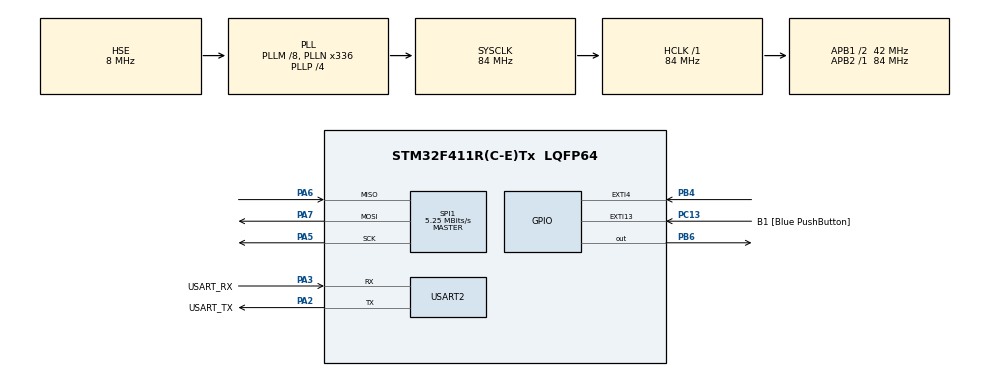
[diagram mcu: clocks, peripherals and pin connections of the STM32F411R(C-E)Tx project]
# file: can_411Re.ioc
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Mcu.Family=STM32F4
Mcu.Name=STM32F411R(C-E)Tx
Mcu.Package=LQFP64
NVIC.PriorityGroup=NVIC_PRIORITYGROUP_0
PA13.GPIO_Label=TMS
PA13.Mode=Serial_Wire
PA13.Signal=SYS_JTMS-SWDIO
PA14.GPIO_Label=TCK
PA14.Mode=Serial_Wire
PA14.Signal=SYS_JTCK-SWCLK
PA2.GPIO_Label=USART_TX
PA2.Mode=Asynchronous
PA2.Signal=USART2_TX
PA3.GPIO_Label=USART_RX
PA3.Mode=Asynchronous
PA3.Signal=USART2_RX
PA5.Mode=Full_Duplex_Master
PA5.Signal=SPI1_SCK
PA6.Mode=Full_Duplex_Master
PA6.Signal=SPI1_MISO
PA7.Mode=Full_Duplex_Master
PA7.Signal=SPI1_MOSI
PB3.GPIO_Label=SWO
PB3.Signal=SYS_JTDO-SWO
PB4.Signal=GPXTI4
PB6.Signal=GPIO_Output
PC13-ANTI_TAMP.GPIO_Label=B1 [Blue PushButton]
PC13-ANTI_TAMP.GPIO_ModeDefaultEXTI=GPIO_MODE_IT_FALLING
PC13-ANTI_TAMP.Signal=GPXTI13
PC14-OSC32_IN.Mode=LSE-External-Oscillator
PC14-OSC32_IN.Signal=RCC_OSC32_IN
PC15-OSC32_OUT.Mode=LSE-External-Oscillator
PC15-OSC32_OUT.Signal=RCC_OSC32_OUT
PH0\ -\ OSC_IN.Mode=HSE-External-Clock-Source
PH0\ -\ OSC_IN.Signal=RCC_OSC_IN
PH1\ -\ OSC_OUT.Mode=HSE-External-Clock-Source
PH1\ -\ OSC_OUT.Signal=RCC_OSC_OUT
ProjectManager.HeapSize=0x200
ProjectManager.StackSize=0x400
ProjectManager.TargetToolchain=STM32CubeIDE
RCC.48MHZClocksFreq_Value=84000000
RCC.AHBFreq_Value=84000000
RCC.APB1CLKDivider=RCC_HCLK_DIV2
RCC.APB1Freq_Value=42000000
RCC.APB1TimFreq_Value=84000000
RCC.APB2Freq_Value=84000000
RCC.APB2TimFreq_Value=84000000
RCC.CortexFreq_Value=84000000
RCC.FLatency-AdvancedSettings=FLASH_LATENCY_2
RCC.HCLKFreq_Value=84000000
RCC.HSE_VALUE=8000000
RCC.HSI_VALUE=16000000
RCC.PLLM=8
RCC.PLLN=336
RCC.PLLP=RCC_PLLP_DIV4
RCC.PLLSourceVirtual=RCC_PLLSOURCE_HSE
RCC.SYSCLKFreq_VALUE=84000000
RCC.SYSCLKSource=RCC_SYSCLKSOURCE_PLLCLK
RCC.VCOOutputFreq_Value=336000000
SPI1.BaudRatePrescaler=SPI_BAUDRATEPRESCALER_16
SPI1.CalculateBaudRate=5.25 MBits/s
SPI1.Direction=SPI_DIRECTION_2LINES
SPI1.Mode=SPI_MODE_MASTER
SPI1.VirtualType=VM_MASTER
USART2.VirtualMode=VM_ASYNC
board=NUCLEO-F411RE

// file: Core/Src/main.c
/* USER CODE BEGIN Header */
/**
  ******************************************************************************
  * @file           : main.c
  * @brief          : Main program body
  ******************************************************************************
  * @attention
  *
  * Copyright (c) 2025 STMicroelectronics.
  * All rights reserved.
  *
  * This software is licensed under terms that can be found in the LICENSE file
  * in the root directory of this software component.
  * If no LICENSE file comes with this software, it is provided AS-IS.
  *
  ******************************************************************************
  */
/* USER CODE END Header */
#include "main.h"

/* USER CODE BEGIN Includes */
#include <string.h>
#include <stdio.h>
#include "mcp2515.h"
/* USER CODE END Includes */

/* USER CODE BEGIN PTD */
SPI_HandleTypeDef hspi1;
UART_HandleTypeDef huart2;

#define MCP_CS_GPIO_Port GPIOB
#define MCP_CS_Pin       GPIO_PIN_6
#define MCP_INT_GPIO_Port GPIOB
#define MCP_INT_Pin       GPIO_PIN_4
/* USER CODE END PTD */

SPI_HandleTypeDef hspi1;

UART_HandleTypeDef huart2;

void SystemClock_Config(void);
static void MX_GPIO_Init(void);
static void MX_USART2_UART_Init(void);
static void MX_SPI1_Init(void);
/* USER CODE BEGIN PFP */
static mcp2515_t mcp;

static void MX_GPIO_Init(void);
static void MX_SPI1_Init(void);
static void MX_USART2_UART_Init(void);

static void log(const char *s){ HAL_UART_Transmit(&huart2,(uint8_t*)s,strlen(s),100); }
/* USER CODE END PFP */

int main(void)
{

  /* MCU Configuration--------------------------------------------------------*/

  /* Reset of all peripherals, Initializes the Flash interface and the Systick. */
  HAL_Init();

  /* Configure the system clock */
  SystemClock_Config();

  /* Initialize all configured peripherals */
  MX_GPIO_Init();
  MX_USART2_UART_Init();
  MX_SPI1_Init();
  /* USER CODE BEGIN 2 */

  MCP2515_Begin(&mcp, &hspi1, MCP_CS_GPIO_Port, MCP_CS_Pin);
  MCP2515_Reset(&mcp);
  MCP2515_SetConfig_500k_16MHz(&mcp);
  MCP2515_SetNormalMode(&mcp);

  can_frame_t tx = { .id=0x123, .dlc=8, .data={ 'H','E','L','L','O','_','4','1' } };
  /* USER CODE END 2 */

  /* Infinite loop */
  /* USER CODE BEGIN WHILE */
  while (1)
  {
	  MCP2515_SendTXB0(&mcp, &tx);
      log("[F411 TX] id=0x123 data=HELLO_41\r\n");
	  HAL_Delay(1000);
    /* USER CODE END WHILE */

  }
}

void SystemClock_Config(void)
{
  RCC_OscInitTypeDef RCC_OscInitStruct = {0};
  RCC_ClkInitTypeDef RCC_ClkInitStruct = {0};

  /** Configure the main internal regulator output voltage
  */
  __HAL_RCC_PWR_CLK_ENABLE();
  __HAL_PWR_VOLTAGESCALING_CONFIG(PWR_REGULATOR_VOLTAGE_SCALE1);

  /** Initializes the RCC Oscillators according to the specified parameters
  * in the RCC_OscInitTypeDef structure.
  */
  RCC_OscInitStruct.OscillatorType = RCC_OSCILLATORTYPE_HSE;
  RCC_OscInitStruct.HSEState = RCC_HSE_BYPASS;
  RCC_OscInitStruct.PLL.PLLState = RCC_PLL_ON;
  RCC_OscInitStruct.PLL.PLLSource = RCC_PLLSOURCE_HSE;
  RCC_OscInitStruct.PLL.PLLM = 8;
  RCC_OscInitStruct.PLL.PLLN = 336;
  RCC_OscInitStruct.PLL.PLLP = RCC_PLLP_DIV4;
  RCC_OscInitStruct.PLL.PLLQ = 4;
  if (HAL_RCC_OscConfig(&RCC_OscInitStruct) != HAL_OK)
  {
    Error_Handler();
  }

  /** Initializes the CPU, AHB and APB buses clocks
  */
  RCC_ClkInitStruct.ClockType = RCC_CLOCKTYPE_HCLK|RCC_CLOCKTYPE_SYSCLK
                              |RCC_CLOCKTYPE_PCLK1|RCC_CLOCKTYPE_PCLK2;
  RCC_ClkInitStruct.SYSCLKSource = RCC_SYSCLKSOURCE_PLLCLK;
  RCC_ClkInitStruct.AHBCLKDivider = RCC_SYSCLK_DIV1;
  RCC_ClkInitStruct.APB1CLKDivider = RCC_HCLK_DIV2;
  RCC_ClkInitStruct.APB2CLKDivider = RCC_HCLK_DIV1;

  if (HAL_RCC_ClockConfig(&RCC_ClkInitStruct, FLASH_LATENCY_2) != HAL_OK)
  {
    Error_Handler();
  }
}

static void MX_SPI1_Init(void)
{

  /* SPI1 parameter configuration*/
  hspi1.Instance = SPI1;
  hspi1.Init.Mode = SPI_MODE_MASTER;
  hspi1.Init.Direction = SPI_DIRECTION_2LINES;
  hspi1.Init.DataSize = SPI_DATASIZE_8BIT;
  hspi1.Init.CLKPolarity = SPI_POLARITY_LOW;
  hspi1.Init.CLKPhase = SPI_PHASE_1EDGE;
  hspi1.Init.NSS = SPI_NSS_SOFT;
  hspi1.Init.BaudRatePrescaler = SPI_BAUDRATEPRESCALER_16;
  hspi1.Init.FirstBit = SPI_FIRSTBIT_MSB;
  hspi1.Init.TIMode = SPI_TIMODE_DISABLE;
  hspi1.Init.CRCCalculation = SPI_CRCCALCULATION_DISABLE;
  hspi1.Init.CRCPolynomial = 10;
  if (HAL_SPI_Init(&hspi1) != HAL_OK)
  {
    Error_Handler();
  }

}

static void MX_USART2_UART_Init(void)
{

  huart2.Instance = USART2;
  huart2.Init.BaudRate = 115200;
  huart2.Init.WordLength = UART_WORDLENGTH_8B;
  huart2.Init.StopBits = UART_STOPBITS_1;
  huart2.Init.Parity = UART_PARITY_NONE;
  huart2.Init.Mode = UART_MODE_TX_RX;
  huart2.Init.HwFlowCtl = UART_HWCONTROL_NONE;
  huart2.Init.OverSampling = UART_OVERSAMPLING_16;
  if (HAL_UART_Init(&huart2) != HAL_OK)
  {
    Error_Handler();
  }

}

static void MX_GPIO_Init(void)
{
  GPIO_InitTypeDef GPIO_InitStruct = {0};

  /* GPIO Ports Clock Enable */
  __HAL_RCC_GPIOC_CLK_ENABLE();
  __HAL_RCC_GPIOH_CLK_ENABLE();
  __HAL_RCC_GPIOA_CLK_ENABLE();
  __HAL_RCC_GPIOB_CLK_ENABLE();

  /*Configure GPIO pin Output Level */
  HAL_GPIO_WritePin(GPIOB, GPIO_PIN_6, GPIO_PIN_RESET);

  /*Configure GPIO pin : B1_Pin */
  GPIO_InitStruct.Pin = B1_Pin;
  GPIO_InitStruct.Mode = GPIO_MODE_IT_FALLING;
  GPIO_InitStruct.Pull = GPIO_NOPULL;
  HAL_GPIO_Init(B1_GPIO_Port, &GPIO_InitStruct);

  /*Configure GPIO pin : PB4 */
  GPIO_InitStruct.Pin = GPIO_PIN_4;
  GPIO_InitStruct.Mode = GPIO_MODE_IT_RISING;
  GPIO_InitStruct.Pull = GPIO_NOPULL;
  HAL_GPIO_Init(GPIOB, &GPIO_InitStruct);

  /*Configure GPIO pin : PB6 */
  GPIO_InitStruct.Pin = GPIO_PIN_6;
  GPIO_InitStruct.Mode = GPIO_MODE_OUTPUT_PP;
  GPIO_InitStruct.Pull = GPIO_NOPULL;
  GPIO_InitStruct.Speed = GPIO_SPEED_FREQ_LOW;
  HAL_GPIO_Init(GPIOB, &GPIO_InitStruct);

}

/* USER CODE BEGIN 4 */
void HAL_GPIO_EXTI_Callback(uint16_t GPIO_Pin){
    if (GPIO_Pin == MCP_INT_Pin){
        can_frame_t fr;
        if (MCP2515_ReadRXB(&mcp, &fr)){
            char buf[64];
            int n = snprintf(buf, sizeof(buf), "[F411 RX] id=0x%03lX dlc=%u data:", fr.id, fr.dlc);
            HAL_UART_Transmit(&huart2,(uint8_t*)buf,n,100);
            for (uint8_t i=0;i<fr.dlc;i++){
                n = snprintf(buf,sizeof(buf)," %02X", fr.data[i]);
                HAL_UART_Transmit(&huart2,(uint8_t*)buf,n,100);
            }
            log("\r\n");
        }
    }
}

void EXTI4_IRQHandler(void){
    HAL_GPIO_EXTI_IRQHandler(MCP_INT_Pin);
}
/* USER CODE END 4 */

void Error_Handler(void)
{
  __disable_irq();
  while (1)
  {
  }
}
